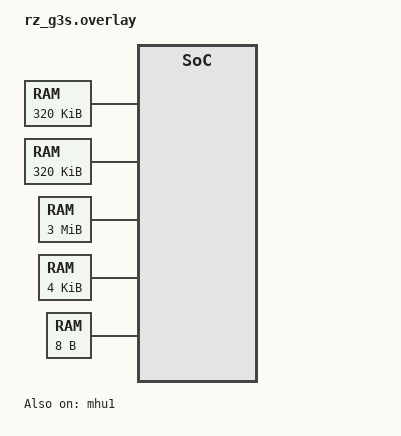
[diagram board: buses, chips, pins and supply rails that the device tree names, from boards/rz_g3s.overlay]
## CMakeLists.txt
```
cmake_minimum_required(VERSION 3.20.0)
# Copyright (c) 2020 STMicroelectronics
#
# SPDX-License-Identifier: Apache-2.0
#

find_package(Zephyr REQUIRED HINTS $ENV{ZEPHYR_BASE})

project(openamp_rsc_table_rzg3)

# METAL_MAX_DEVICE_REGIONS is used to give the number of memory regions shared
# between processors. By default only one region is defined for the vrings
# and rpmsg buffers. The METAL_MAX_DEVICE_REGIONS has to be redefined to add a
# second region for the resource table.
zephyr_compile_definitions(METAL_MAX_DEVICE_REGIONS=2)

target_include_directories(app PRIVATE ${LIBMETAL_INCLUDE_DIR} ${OPENAMP_INCLUDE_DIR} ${PLATFORM_DIR})
target_include_directories(app PRIVATE src)

target_sources(app PRIVATE src/resource_table.c src/main_remote.c)
```

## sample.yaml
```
sample:
  description: This app provides an example of how to integrate OpenAMP
    with Zephyr including a resource table for Renesas RZ/G boards.
  name: OpenAMP with resource table client example
tests:
  sample.subsys.ipc.openamp_rs_table_rzg3:
    build_only: true
    platform_allow:
      - rz_g3s
      - rz_g3s_fpu
    integration_platforms:
      - rz_g3s
      - rz_g3s_fpu
    tags: ipm
```

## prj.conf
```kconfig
CONFIG_KERNEL_BIN_NAME="zephyr_openamp_rsc_table"
CONFIG_LOG=y
CONFIG_LOG_MODE_MINIMAL=y
CONFIG_IPM=y
CONFIG_HEAP_MEM_POOL_SIZE=1024
CONFIG_OPENAMP=y
CONFIG_OPENAMP_RSC_TABLE=n
```

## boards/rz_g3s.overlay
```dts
/*
 * Copyright (c) 2024 Epam Systems
 *
 * SPDX-License-Identifier: Apache-2.0
 */

/ {
	/*
	 * Allocating whole openamp region as reserved memroy
	 * to save MPU entries
	 */
	reserved-memory {
		#address-cells = <1>;
		#size-cells = <1>;
		ranges;

		openamp_shm: memory-region@62F00000 {
			compatible = "zephyr,memory-region";
			reg = <0x62F00000 0x600000>;
			zephyr,memory-region = "openamp_memory";
			zephyr,memory-attr = <( DT_MEM_ARM(ATTR_MPU_IO) )>;
		};
	};

	chosen {
		zephyr,ipc_shm = &vring_shm0;
		zephyr,ipc = &mhu1;
	};

	vring_ctrl0: memory@63000000 {
		compatible = "mmio-sram";
		reg = <0x63000000 0x50000>;
	};

	vring_ctrl1: memory@63050000 {
		compatible = "mmio-sram";
		reg = <0x63050000 0x50000>;
	};

	vring_shm0: memory@63200000 {
		compatible = "mmio-sram";
		reg = <0x63200000 0x300000>;
	};

	rsctbl: memory@62F00000 {
		compatible = "mmio-sram";
		reg = <0x62F00000 0x1000>;
	};

	mhu1_shm: memory@62F01008 {
		compatible = "mmio-sram";
		reg = <0x62F01008 0x8>;
	};
};

&mhu1 {
	memory-region = <&mhu1_shm>;
	status = "okay";
};
```

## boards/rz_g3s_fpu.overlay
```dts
/*
 * Copyright (c) 2024 Epam Systems
 *
 * SPDX-License-Identifier: Apache-2.0
 */

/ {
	/*
	* Allocating whole openamp region as reserved memroy
	* to save MPU entries
	*/
	reserved-memory {
		#address-cells = <1>;
		#size-cells = <1>;
		ranges;

		openamp_shm: memory-region@62F00000 {
			compatible = "zephyr,memory-region";
			reg = <0x62F00000 0x600000>;
			zephyr,memory-region = "openamp_memory";
			zephyr,memory-attr = <( DT_MEM_ARM(ATTR_MPU_IO) )>;
		};
	};

	chosen {
		zephyr,ipc_shm = &vring_shm0;
		zephyr,ipc = &mhu0_fpu;
	};

	vring_ctrl0: memory@63000000 {
		compatible = "mmio-sram";
		reg = <0x63000000 0x50000>;
	};

	vring_ctrl1: memory@63050000 {
		compatible = "mmio-sram";
		reg = <0x63050000 0x50000>;
	};

	vring_shm0: memory@63200000 {
		compatible = "mmio-sram";
		reg = <0x63200000 0x300000>;
	};

	rsctbl: memory@62F00000 {
		compatible = "mmio-sram";
		reg = <0x62F00000 0x1000>;
	};

	mhu0_shm: memory@62F01000 {
		compatible = "mmio-sram";
		reg = <0x62F01000 0x8>;
	};
};

&mhu0_fpu {
	memory-region = <&mhu0_shm>;
	status = "okay";
};
```

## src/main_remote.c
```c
/*
 * Copyright (c) 2023, EPAM Systems
 *
 * SPDX-License-Identifier: Apache-2.0
 */

#include <zephyr/kernel.h>
#include <zephyr/device.h>
#include <string.h>
#include <stdio.h>
#include <stdlib.h>
#include <string.h>

#include <zephyr/drivers/ipm.h>

#include <openamp/open_amp.h>
#include <metal/device.h>
#include "resource_table.h"

#include <zephyr/logging/log.h>
LOG_MODULE_REGISTER(openamp_rsc_table);

#define SHM_DEVICE_NAME "shm"

#if !DT_HAS_CHOSEN(zephyr_ipc_shm)
#error "Sample requires definition of shared memory for rpmsg"
#endif

#define APP_EPT_ADDR 1024

#define SHUTDOWN_MSG (0xEF56A55A)

/* Constants derived from device tree */
#define SHM_NODE       DT_CHOSEN(zephyr_ipc_shm)
#define SHM_START_ADDR DT_REG_ADDR(SHM_NODE)
#define SHM_SIZE       DT_REG_SIZE(SHM_NODE)

#define RSC_TABLE_ADDR DT_REG_ADDR(DT_NODELABEL(rsctbl))

#define APP_TASK_STACK_SIZE (1024)

K_THREAD_STACK_DEFINE(thread_mng_stack, APP_TASK_STACK_SIZE);
K_THREAD_STACK_DEFINE(thread_rp__client_stack, APP_TASK_STACK_SIZE);

static struct k_thread thread_mng_data;
static struct k_thread thread_rp__client_data;

static const struct device *const ipm_handle = DEVICE_DT_GET(DT_CHOSEN(zephyr_ipc));

static metal_phys_addr_t shm_physmap = CM33_TO_A55_ADDR_NS(SHM_START_ADDR);
static metal_phys_addr_t rsc_physmap = RSC_TABLE_ADDR;

struct metal_device shm_device = {
	.name = SHM_DEVICE_NAME,
	.num_regions = 2,
	.regions = {
			{.virt = NULL}, /* shared memory */
			{.virt = NULL}, /* rsc_table memory */
		},
	.node = {NULL},
	.irq_num = 0,

};

struct rpmsg_rcv_msg {
	void *data;
	size_t len;
};

static struct metal_io_region *shm_io;
static struct rpmsg_virtio_shm_pool shpool;

static struct metal_io_region *rsc_io;
static struct rpmsg_virtio_device rvdev;

static void *rsc_table;
static struct rpmsg_device *rpdev;

static char rx_sc_msg[512];
static struct rpmsg_endpoint sc_ept;
static struct rpmsg_rcv_msg sc_msg = {.data = rx_sc_msg};

static K_SEM_DEFINE(data_sem, 0, 1);
static K_SEM_DEFINE(data_sc_sem, 0, 1);

static volatile int finish;

static void platform_ipm_callback(const struct device *dev, void *context, uint32_t id,
				  volatile void *data)
{
	k_sem_give(&data_sem);
}

static int rpmsg_recv_cs_callback(struct rpmsg_endpoint *ept, void *data, size_t len, uint32_t src,
				  void *priv)
{
	memcpy(sc_msg.data, data, len);
	sc_msg.len = len;
	if ((*(unsigned int *)data) == SHUTDOWN_MSG) {
		finish = 1;
	}
	k_sem_give(&data_sc_sem);

	return RPMSG_SUCCESS;
}

static void receive_message(unsigned char **msg, unsigned int *len)
{
	int status = k_sem_take(&data_sem, K_FOREVER);

	if (status == 0) {
		rproc_virtio_notified(rvdev.vdev, VRING1_ID);
	}
}

static void new_service_cb(struct rpmsg_device *rdev, const char *name, uint32_t src)
{
	LOG_INF("%s: message received from service %s", __func__, name);
}

int mailbox_notify(void *priv, uint32_t id)
{
	ARG_UNUSED(priv);

	ipm_send(ipm_handle, 0, id, NULL, 0);
	return 0;
}

int platform_init(void)
{
	void *rsc_tab_addr;
	int rsc_size;
	struct metal_device *device;
	struct metal_init_params metal_params = METAL_INIT_DEFAULTS;
	int status;

	status = metal_init(&metal_params);
	if (status) {
		LOG_ERR("metal_init: failed: %d", status);
		return -1;
	}

	status = metal_register_generic_device(&shm_device);
	if (status) {
		LOG_ERR("Couldn't register shared memory: %d", status);
		return -1;
	}

	status = metal_device_open("generic", SHM_DEVICE_NAME, &device);
	if (status) {
		LOG_ERR("metal_device_open failed: %d", status);
		return -1;
	}

	/* declare shared memory region */
	metal_io_init(&device->regions[0], (void *)SHM_START_ADDR, &shm_physmap, SHM_SIZE, -1, 0,
		      NULL);

	shm_io = metal_device_io_region(device, 0);
	if (!shm_io) {
		LOG_ERR("Failed to get shm_io region");
		return -1;
	}

	/* declare resource table region */
	rsc_table_get(&rsc_tab_addr, &rsc_size);
	memcpy((void *)RSC_TABLE_ADDR, rsc_tab_addr, rsc_size);
	rsc_table = (struct st_resource_table *)RSC_TABLE_ADDR;

	metal_io_init(&device->regions[1], (void *)RSC_TABLE_ADDR, &rsc_physmap, rsc_size, -1, 0,
		      NULL);

	rsc_io = metal_device_io_region(device, 1);
	if (!rsc_io) {
		LOG_ERR("Failed to get rsc_io region");
		return -1;
	}

	/* setup IPM */
	if (!device_is_ready(ipm_handle)) {
		LOG_ERR("IPM device is not ready");
		return -1;
	}

	ipm_register_callback(ipm_handle, platform_ipm_callback, NULL);

	status = ipm_set_enabled(ipm_handle, 1);
	if (status) {
		LOG_ERR("ipm_set_enabled failed");
		return -1;
	}

	return 0;
}

static void platform_deinit(void)
{
	ipm_set_enabled(ipm_handle, 0);
	metal_finish();
}

static void cleanup_system(void)
{
	struct fw_resource_table *rsc_tbl = (struct fw_resource_table *)RSC_TABLE_ADDR;

	rpmsg_deinit_vdev(&rvdev);
	rproc_virtio_remove_vdev(rvdev.vdev);
	/*
	 * Clean vdev status in rsc_table because it may not be cleared from
	 * master end. This is not default work behavior. By default rsc_table
	 * should be provided and managed by master.
	 */
	rsc_tbl->vdev.status = 0;
}

struct rpmsg_device *platform_create_rpmsg_vdev(unsigned int vdev_index, unsigned int role,
						void (*rst_cb)(struct virtio_device *vdev),
						rpmsg_ns_bind_cb ns_cb)
{
	struct fw_rsc_vdev_vring *vring_rsc;
	struct virtio_device *vdev;
	int ret;

	vdev = rproc_virtio_create_vdev(VIRTIO_DEV_DEVICE, VDEV_ID, rsc_table_to_vdev(rsc_table),
					rsc_io, NULL, mailbox_notify, NULL);

	if (!vdev) {
		LOG_ERR("failed to create vdev");
		return NULL;
	}

	/* Set gfeatures because they should be equal to dfeatures
	 * when create_ept is called. As rproc_virtio_create_vdev
	 * doesn't set them because its VIRTIO_DEVICE not DRIVER.
	 * Assume the virtio driver support all remote features.
	 */
	virtio_set_features(vdev, 0x1);

	/* wait master rpmsg init completion */
	rproc_virtio_wait_remote_ready(vdev);

	vring_rsc = rsc_table_get_vring0(rsc_table);

	ret = rproc_virtio_init_vring(vdev, 0, vring_rsc->notifyid, (void *)VRING_TX_ADDR_CM33,
				      rsc_io, vring_rsc->num, vring_rsc->align);
	if (ret) {
		LOG_ERR("failed to init vring 0");
		goto failed;
	}

	vring_rsc = rsc_table_get_vring1(rsc_table);

	ret = rproc_virtio_init_vring(vdev, 1, vring_rsc->notifyid, (void *)VRING_RX_ADDR_CM33,
				      rsc_io, vring_rsc->num, vring_rsc->align);
	if (ret) {
		LOG_ERR("failed to init vring 1");
		goto failed;
	}

	rpmsg_virtio_init_shm_pool(&shpool, NULL, SHM_SIZE);
	ret = rpmsg_init_vdev(&rvdev, vdev, ns_cb, shm_io, &shpool);

	if (ret) {
		LOG_ERR("failed rpmsg_init_vdev");
		goto failed;
	}

	return rpmsg_virtio_get_rpmsg_device(&rvdev);

failed:
	rproc_virtio_remove_vdev(vdev);

	return NULL;
}

void app_rpmsg_client_sample(void *arg1, void *arg2, void *arg3)
{
	ARG_UNUSED(arg1);
	ARG_UNUSED(arg2);
	ARG_UNUSED(arg3);
	unsigned int msg_cnt = 0;
	int ret = 0;

	k_sem_take(&data_sc_sem, K_FOREVER);

	LOG_INF("OpenAMP[remote] Linux sample client responder started");

	ret = rpmsg_create_ept(&sc_ept, rpdev, "rpmsg-service-0", APP_EPT_ADDR, RPMSG_ADDR_ANY,
			       rpmsg_recv_cs_callback, NULL);

	while (!finish) {
		k_sem_take(&data_sc_sem, K_FOREVER);
		msg_cnt++;
		rpmsg_send(&sc_ept, sc_msg.data, sc_msg.len);
	}

	rpmsg_destroy_ept(&sc_ept);
	k_sem_reset(&data_sc_sem);

	LOG_INF("OpenAMP Linux sample client responder ended");
}

void rpmsg_mng_task(void *arg1, void *arg2, void *arg3)
{
	ARG_UNUSED(arg1);
	ARG_UNUSED(arg2);
	ARG_UNUSED(arg3);
	unsigned char *msg;
	unsigned int len;
	int ret = 0;

	LOG_INF("OpenAMP[remote]  linux responder demo started");

	/* Initialize platform */
	rpdev = platform_create_rpmsg_vdev(0, VIRTIO_DEV_DEVICE, NULL, new_service_cb);
	if (!rpdev) {
		LOG_ERR("Failed to create rpmsg virtio device");
		ret = -1;
		goto task_end;
	}

	/* start the rpmsg clients */
	k_sem_give(&data_sc_sem);

	while (!finish) {
		receive_message(&msg, &len);
	}

task_end:
	cleanup_system();

	LOG_INF("OpenAMP demo ended");
}

int main(void)
{
	LOG_INF("Starting application..!");

	/* Initialize platform */
	int ret = platform_init();

	if (ret) {
		LOG_ERR("Failed to initialize platform");
		return -1;
	}

	while (1) {
		finish = 0;

		LOG_INF("Starting application threads!");
		k_thread_create(&thread_mng_data, thread_mng_stack, APP_TASK_STACK_SIZE,
				(k_thread_entry_t)rpmsg_mng_task, NULL, NULL, NULL, K_PRIO_COOP(8),
				0, K_NO_WAIT);
		k_thread_create(&thread_rp__client_data, thread_rp__client_stack,
				APP_TASK_STACK_SIZE, (k_thread_entry_t)app_rpmsg_client_sample,
				NULL, NULL, NULL, K_PRIO_COOP(7), 0, K_NO_WAIT);

		k_thread_join(&thread_mng_data, K_FOREVER);
		k_thread_join(&thread_rp__client_data, K_FOREVER);
	}

	platform_deinit();
	return 0;
}
```

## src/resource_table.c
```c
/*
 * Copyright (c) 2024 EPAM Systems
 *
 * SPDX-License-Identifier: Apache-2.0
 */

/*
 * Overriding Zephyr resource_table and set correct vring 0 and vring 1 addresses
 * to match the work behaviour of master device. According to the commit:
 * 25ec73986b (lib: open-amp: add helper to add resource table in project)
 * vring RX and TX addresses should be allocated by master processor.
 * Current Master Sample implementation expects slave to provide valid
 * rsc_table so update vring addresses here.
 *
 * Dependencies:
 *   to be compliant with Linux kernel OS the resource table must be linked in a
 *   specific section named ".resource_table".
 */

#include <zephyr/kernel.h>
#include <resource_table.h>

#define __resource Z_GENERIC_SECTION(.resource_table)

static struct fw_resource_table __resource resource_table = {
	.ver = 1,
	.num = RSC_TABLE_NUM_ENTRY,
	.offset = {
			offsetof(struct fw_resource_table, vdev),
		},

	/* Virtio device entry */
	.vdev = {
			RSC_VDEV,
			VIRTIO_ID_RPMSG,
			0,
			RPMSG_IPU_C0_FEATURES,
			0,
			0,
			0,
			VRING_COUNT,
			{0, 0},
		},

	/* Vring rsc entry - part of vdev rsc entry */
	.vring0 = {VRING_TX_ADDR_A55, VRING_ALIGNMENT, RSC_TABLE_NUM_RPMSG_BUFF, VRING0_ID, 0},
	.vring1 = {VRING_RX_ADDR_A55, VRING_ALIGNMENT, RSC_TABLE_NUM_RPMSG_BUFF, VRING1_ID, 0},
};

void rsc_table_get(void **table_ptr, int *length)
{
	*table_ptr = (void *)&resource_table;
	*length = sizeof(resource_table);
}
```

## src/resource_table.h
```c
/*
 * Copyright (c) 2024 EPAM Systems
 *
 * SPDX-License-Identifier: Apache-2.0
 */

#ifndef RESOURCE_TABLE_H__
#define RESOURCE_TABLE_H__

#include <openamp/remoteproc.h>
#include <openamp/virtio.h>

#ifdef __cplusplus
extern "C" {
#endif

#define VDEV_ID   0xFF
#define VRING0_ID 0
#define VRING1_ID 1

#define VRING_COUNT           2
#define RPMSG_IPU_C0_FEATURES 1

#define R_VRING_TX         DT_NODELABEL(vring_ctrl0)
#define R_VRING_RX         DT_NODELABEL(vring_ctrl1)
#define VRING_TX_ADDR_CM33 DT_REG_ADDR(R_VRING_TX)
#define VRING_RX_ADDR_CM33 DT_REG_ADDR(R_VRING_RX)

#define VRING_TX_ADDR_A55 CM33_TO_A55_ADDR_NS(VRING_TX_ADDR_CM33)
#define VRING_RX_ADDR_A55 CM33_TO_A55_ADDR_NS(VRING_RX_ADDR_CM33)
#define VRING_ALIGNMENT   (0x100U)

#define RSC_TABLE_NUM_RPMSG_BUFF 512

enum rsc_table_entries {
	RSC_TABLE_VDEV_ENTRY,
	RSC_TABLE_NUM_ENTRY
};

struct fw_resource_table {
	unsigned int ver;
	unsigned int num;
	unsigned int reserved[2];
	unsigned int offset[RSC_TABLE_NUM_ENTRY];

	struct fw_rsc_vdev vdev;
	struct fw_rsc_vdev_vring vring0;
	struct fw_rsc_vdev_vring vring1;
} METAL_PACKED_END;

void rsc_table_get(void **table_ptr, int *length);

static inline struct fw_rsc_vdev *rsc_table_to_vdev(void *rsc_table)
{
	return &((struct fw_resource_table *)rsc_table)->vdev;
}

static inline struct fw_rsc_vdev_vring *rsc_table_get_vring0(void *rsc_table)
{
	return &((struct fw_resource_table *)rsc_table)->vring0;
}

static inline struct fw_rsc_vdev_vring *rsc_table_get_vring1(void *rsc_table)
{
	return &((struct fw_resource_table *)rsc_table)->vring1;
}

#ifdef __cplusplus
}
#endif

#endif
```
